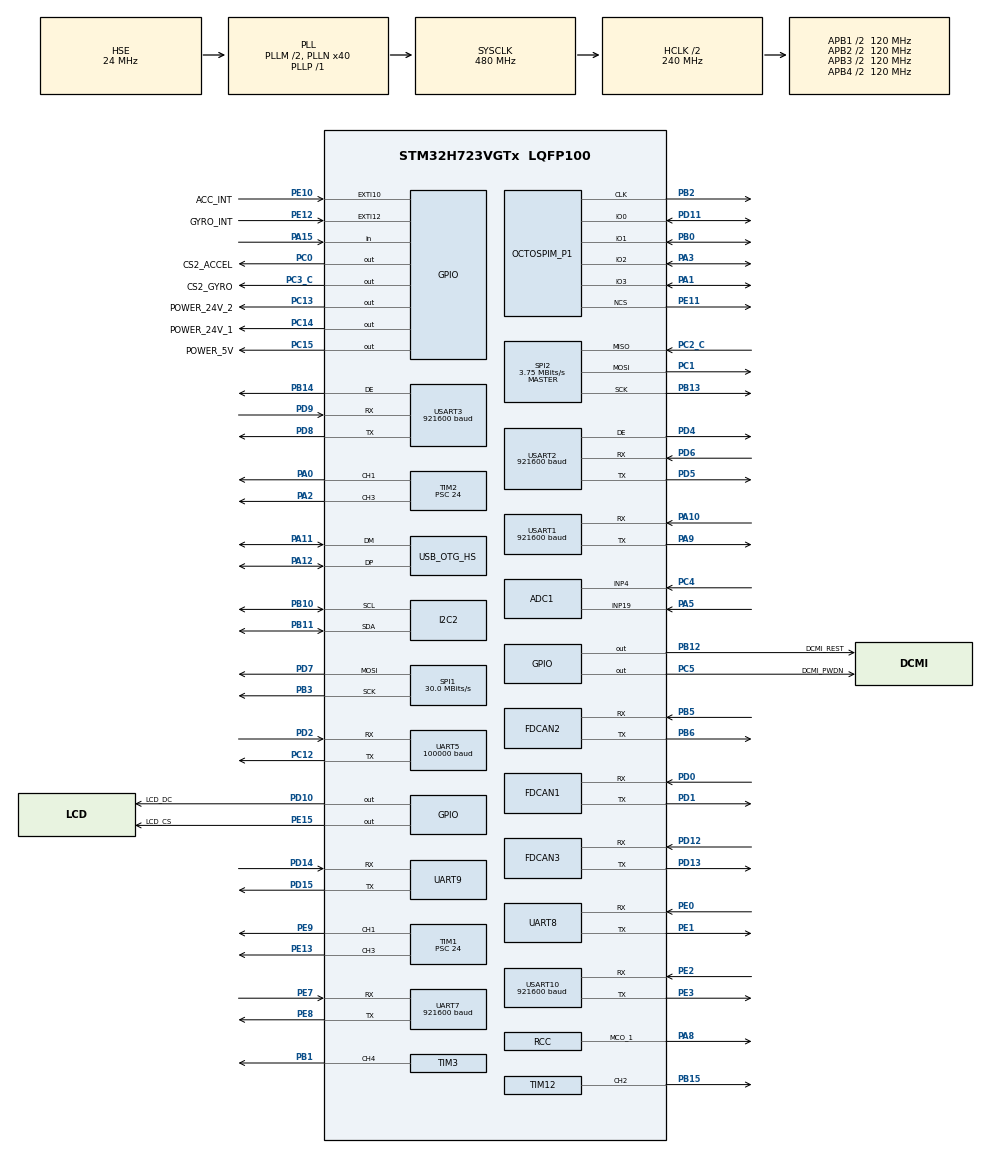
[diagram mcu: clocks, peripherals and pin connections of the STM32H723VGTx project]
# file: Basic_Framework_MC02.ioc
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ADC1.Channel-0\#ChannelRegularConversion=ADC_CHANNEL_4
ADC1.Channel-1\#ChannelRegularConversion=ADC_CHANNEL_19
ADC1.ClockPrescaler=ADC_CLOCK_ASYNC_DIV64
ADC1.ContinuousConvMode=ENABLE
ADC1.ConversionDataManagement=ADC_CONVERSIONDATA_DMA_CIRCULAR
ADC1.NbrOfConversion=2
ADC1.NbrOfConversionFlag=1
ADC1.OffsetNumber-0\#ChannelRegularConversion=ADC_OFFSET_NONE
ADC1.OffsetNumber-1\#ChannelRegularConversion=ADC_OFFSET_NONE
ADC1.OffsetSignedSaturation-0\#ChannelRegularConversion=DISABLE
ADC1.OffsetSignedSaturation-1\#ChannelRegularConversion=DISABLE
ADC1.Rank-0\#ChannelRegularConversion=1
ADC1.Rank-1\#ChannelRegularConversion=2
ADC1.SamplingTime-0\#ChannelRegularConversion=ADC_SAMPLETIME_32CYCLES_5
ADC1.SamplingTime-1\#ChannelRegularConversion=ADC_SAMPLETIME_32CYCLES_5
ADC1.master=1
CORTEX_M7.BaseAddress-Cortex_Memory_Protection_Unit_Region0_Settings=0x24000000
CORTEX_M7.CPU_DCache=Enabled
CORTEX_M7.CPU_ICache=Enabled
CORTEX_M7.Enable-Cortex_Memory_Protection_Unit_Region0_Settings=MPU_REGION_ENABLE
CORTEX_M7.IsBufferable-Cortex_Memory_Protection_Unit_Region0_Settings=MPU_ACCESS_BUFFERABLE
CORTEX_M7.IsCacheable-Cortex_Memory_Protection_Unit_Region0_Settings=MPU_ACCESS_CACHEABLE
CORTEX_M7.MPU_Control=__NULL
CORTEX_M7.Size-Cortex_Memory_Protection_Unit_Region0_Settings=MPU_REGION_SIZE_512B
CORTEX_M7.TypeExtField-Cortex_Memory_Protection_Unit_Region0_Settings=MPU_TEX_LEVEL1
Dma.ADC1.0.Direction=DMA_PERIPH_TO_MEMORY
Dma.ADC1.0.EventEnable=DISABLE
Dma.ADC1.0.FIFOMode=DMA_FIFOMODE_DISABLE
Dma.ADC1.0.Instance=DMA1_Stream0
Dma.ADC1.0.MemDataAlignment=DMA_MDATAALIGN_HALFWORD
Dma.ADC1.0.MemInc=DMA_MINC_ENABLE
Dma.ADC1.0.Mode=DMA_CIRCULAR
Dma.ADC1.0.PeriphDataAlignment=DMA_PDATAALIGN_HALFWORD
Dma.ADC1.0.PeriphInc=DMA_PINC_DISABLE
Dma.ADC1.0.Polarity=HAL_DMAMUX_REQ_GEN_RISING
Dma.ADC1.0.Priority=DMA_PRIORITY_LOW
Dma.ADC1.0.RequestNumber=1
Dma.ADC1.0.SignalID=NONE
Dma.ADC1.0.SyncEnable=DISABLE
Dma.ADC1.0.SyncPolarity=HAL_DMAMUX_SYNC_NO_EVENT
Dma.ADC1.0.SyncRequestNumber=1
Dma.ADC1.0.SyncSignalID=NONE
Dma.I2C2_RX.2.Direction=DMA_PERIPH_TO_MEMORY
Dma.I2C2_RX.2.EventEnable=DISABLE
Dma.I2C2_RX.2.FIFOMode=DMA_FIFOMODE_DISABLE
Dma.I2C2_RX.2.Instance=DMA1_Stream2
Dma.I2C2_RX.2.MemDataAlignment=DMA_MDATAALIGN_BYTE
Dma.I2C2_RX.2.MemInc=DMA_MINC_ENABLE
Dma.I2C2_RX.2.Mode=DMA_NORMAL
Dma.I2C2_RX.2.PeriphDataAlignment=DMA_PDATAALIGN_BYTE
Dma.I2C2_RX.2.PeriphInc=DMA_PINC_DISABLE
Dma.I2C2_RX.2.Polarity=HAL_DMAMUX_REQ_GEN_RISING
Dma.I2C2_RX.2.Priority=DMA_PRIORITY_LOW
Dma.I2C2_RX.2.RequestNumber=1
Dma.I2C2_RX.2.SignalID=NONE
Dma.I2C2_RX.2.SyncEnable=DISABLE
Dma.I2C2_RX.2.SyncPolarity=HAL_DMAMUX_SYNC_NO_EVENT
Dma.I2C2_RX.2.SyncRequestNumber=1
Dma.I2C2_RX.2.SyncSignalID=NONE
Dma.I2C2_TX.3.Direction=DMA_MEMORY_TO_PERIPH
Dma.I2C2_TX.3.EventEnable=DISABLE
Dma.I2C2_TX.3.FIFOMode=DMA_FIFOMODE_DISABLE
Dma.I2C2_TX.3.Instance=DMA1_Stream3
Dma.I2C2_TX.3.MemDataAlignment=DMA_MDATAALIGN_BYTE
Dma.I2C2_TX.3.MemInc=DMA_MINC_ENABLE
Dma.I2C2_TX.3.Mode=DMA_NORMAL
Dma.I2C2_TX.3.PeriphDataAlignment=DMA_PDATAALIGN_BYTE
Dma.I2C2_TX.3.PeriphInc=DMA_PINC_DISABLE
Dma.I2C2_TX.3.Polarity=HAL_DMAMUX_REQ_GEN_RISING
Dma.I2C2_TX.3.Priority=DMA_PRIORITY_LOW
Dma.I2C2_TX.3.RequestNumber=1
Dma.I2C2_TX.3.SignalID=NONE
Dma.I2C2_TX.3.SyncEnable=DISABLE
Dma.I2C2_TX.3.SyncPolarity=HAL_DMAMUX_SYNC_NO_EVENT
Dma.I2C2_TX.3.SyncRequestNumber=1
Dma.I2C2_TX.3.SyncSignalID=NONE
Dma.Request0=ADC1
Dma.Request1=UART5_RX
Dma.Request10=USART1_TX
Dma.Request11=USART1_RX
Dma.Request12=USART10_RX
Dma.Request13=USART10_TX
Dma.Request14=UART8_TX
Dma.Request15=UART8_RX
Dma.Request2=I2C2_RX
Dma.Request3=I2C2_TX
Dma.Request4=UART9_RX
Dma.Request5=UART9_TX
Dma.Request6=USART3_RX
Dma.Request7=USART3_TX
Dma.Request8=USART2_RX
Dma.Request9=USART2_TX
Dma.UART5_RX.1.Direction=DMA_PERIPH_TO_MEMORY
Dma.UART5_RX.1.EventEnable=DISABLE
Dma.UART5_RX.1.FIFOMode=DMA_FIFOMODE_DISABLE
Dma.UART5_RX.1.Instance=DMA1_Stream7
Dma.UART5_RX.1.MemDataAlignment=DMA_MDATAALIGN_BYTE
Dma.UART5_RX.1.MemInc=DMA_MINC_ENABLE
Dma.UART5_RX.1.Mode=DMA_NORMAL
Dma.UART5_RX.1.PeriphDataAlignment=DMA_PDATAALIGN_BYTE
Dma.UART5_RX.1.PeriphInc=DMA_PINC_DISABLE
Dma.UART5_RX.1.Polarity=HAL_DMAMUX_REQ_GEN_RISING
Dma.UART5_RX.1.Priority=DMA_PRIORITY_VERY_HIGH
Dma.UART5_RX.1.RequestNumber=1
Dma.UART5_RX.1.SignalID=NONE
Dma.UART5_RX.1.SyncEnable=DISABLE
Dma.UART5_RX.1.SyncPolarity=HAL_DMAMUX_SYNC_NO_EVENT
Dma.UART5_RX.1.SyncRequestNumber=1
Dma.UART5_RX.1.SyncSignalID=NONE
Dma.UART8_RX.15.Direction=DMA_PERIPH_TO_MEMORY
Dma.UART8_RX.15.EventEnable=DISABLE
Dma.UART8_RX.15.FIFOMode=DMA_FIFOMODE_DISABLE
Dma.UART8_RX.15.Instance=DMA2_Stream7
Dma.UART8_RX.15.MemDataAlignment=DMA_MDATAALIGN_BYTE
Dma.UART8_RX.15.MemInc=DMA_MINC_ENABLE
Dma.UART8_RX.15.Mode=DMA_NORMAL
Dma.UART8_RX.15.PeriphDataAlignment=DMA_PDATAALIGN_BYTE
Dma.UART8_RX.15.PeriphInc=DMA_PINC_DISABLE
Dma.UART8_RX.15.Polarity=HAL_DMAMUX_REQ_GEN_RISING
Dma.UART8_RX.15.Priority=DMA_PRIORITY_LOW
Dma.UART8_RX.15.RequestNumber=1
Dma.UART8_RX.15.SignalID=NONE
Dma.UART8_RX.15.SyncEnable=DISABLE
Dma.UART8_RX.15.SyncPolarity=HAL_DMAMUX_SYNC_NO_EVENT
Dma.UART8_RX.15.SyncRequestNumber=1
Dma.UART8_RX.15.SyncSignalID=NONE
Dma.UART8_TX.14.Direction=DMA_MEMORY_TO_PERIPH
Dma.UART8_TX.14.EventEnable=DISABLE
Dma.UART8_TX.14.FIFOMode=DMA_FIFOMODE_DISABLE
Dma.UART8_TX.14.Instance=DMA2_Stream6
Dma.UART8_TX.14.MemDataAlignment=DMA_MDATAALIGN_BYTE
Dma.UART8_TX.14.MemInc=DMA_MINC_ENABLE
Dma.UART8_TX.14.Mode=DMA_NORMAL
Dma.UART8_TX.14.PeriphDataAlignment=DMA_PDATAALIGN_BYTE
Dma.UART8_TX.14.PeriphInc=DMA_PINC_DISABLE
Dma.UART8_TX.14.Polarity=HAL_DMAMUX_REQ_GEN_RISING
Dma.UART8_TX.14.Priority=DMA_PRIORITY_LOW
Dma.UART8_TX.14.RequestNumber=1
Dma.UART8_TX.14.SignalID=NONE
Dma.UART8_TX.14.SyncEnable=DISABLE
Dma.UART8_TX.14.SyncPolarity=HAL_DMAMUX_SYNC_NO_EVENT
Dma.UART8_TX.14.SyncRequestNumber=1
Dma.UART8_TX.14.SyncSignalID=NONE
Dma.UART9_RX.4.Direction=DMA_PERIPH_TO_MEMORY
Dma.UART9_RX.4.EventEnable=DISABLE
Dma.UART9_RX.4.FIFOMode=DMA_FIFOMODE_DISABLE
Dma.UART9_RX.4.Instance=DMA1_Stream4
Dma.UART9_RX.4.MemDataAlignment=DMA_MDATAALIGN_BYTE
Dma.UART9_RX.4.MemInc=DMA_MINC_ENABLE
Dma.UART9_RX.4.Mode=DMA_NORMAL
Dma.UART9_RX.4.PeriphDataAlignment=DMA_PDATAALIGN_BYTE
Dma.UART9_RX.4.PeriphInc=DMA_PINC_DISABLE
Dma.UART9_RX.4.Polarity=HAL_DMAMUX_REQ_GEN_RISING
Dma.UART9_RX.4.Priority=DMA_PRIORITY_HIGH
Dma.UART9_RX.4.RequestNumber=1
Dma.UART9_RX.4.SignalID=NONE
Dma.UART9_RX.4.SyncEnable=DISABLE
Dma.UART9_RX.4.SyncPolarity=HAL_DMAMUX_SYNC_NO_EVENT
Dma.UART9_RX.4.SyncRequestNumber=1
Dma.UART9_RX.4.SyncSignalID=NONE
Dma.UART9_TX.5.Direction=DMA_MEMORY_TO_PERIPH
Dma.UART9_TX.5.EventEnable=DISABLE
Dma.UART9_TX.5.FIFOMode=DMA_FIFOMODE_DISABLE
Dma.UART9_TX.5.Instance=DMA1_Stream5
Dma.UART9_TX.5.MemDataAlignment=DMA_MDATAALIGN_BYTE
Dma.UART9_TX.5.MemInc=DMA_MINC_ENABLE
Dma.UART9_TX.5.Mode=DMA_NORMAL
Dma.UART9_TX.5.PeriphDataAlignment=DMA_PDATAALIGN_BYTE
Dma.UART9_TX.5.PeriphInc=DMA_PINC_DISABLE
Dma.UART9_TX.5.Polarity=HAL_DMAMUX_REQ_GEN_RISING
Dma.UART9_TX.5.Priority=DMA_PRIORITY_HIGH
Dma.UART9_TX.5.RequestNumber=1
Dma.UART9_TX.5.SignalID=NONE
Dma.UART9_TX.5.SyncEnable=DISABLE
Dma.UART9_TX.5.SyncPolarity=HAL_DMAMUX_SYNC_NO_EVENT
Dma.UART9_TX.5.SyncRequestNumber=1
Dma.UART9_TX.5.SyncSignalID=NONE
Dma.USART10_RX.12.Direction=DMA_PERIPH_TO_MEMORY
Dma.USART10_RX.12.EventEnable=DISABLE
Dma.USART10_RX.12.FIFOMode=DMA_FIFOMODE_DISABLE
Dma.USART10_RX.12.Instance=DMA2_Stream4
Dma.USART10_RX.12.MemDataAlignment=DMA_MDATAALIGN_BYTE
Dma.USART10_RX.12.MemInc=DMA_MINC_ENABLE
Dma.USART10_RX.12.Mode=DMA_NORMAL
Dma.USART10_RX.12.PeriphDataAlignment=DMA_PDATAALIGN_BYTE
Dma.USART10_RX.12.PeriphInc=DMA_PINC_DISABLE
Dma.USART10_RX.12.Polarity=HAL_DMAMUX_REQ_GEN_RISING
Dma.USART10_RX.12.Priority=DMA_PRIORITY_LOW
Dma.USART10_RX.12.RequestNumber=1
Dma.USART10_RX.12.SignalID=NONE
Dma.USART10_RX.12.SyncEnable=DISABLE
Dma.USART10_RX.12.SyncPolarity=HAL_DMAMUX_SYNC_NO_EVENT
Dma.USART10_RX.12.SyncRequestNumber=1
Dma.USART10_RX.12.SyncSignalID=NONE
Dma.USART10_TX.13.Direction=DMA_MEMORY_TO_PERIPH
Dma.USART10_TX.13.EventEnable=DISABLE
Dma.USART10_TX.13.FIFOMode=DMA_FIFOMODE_DISABLE
Dma.USART10_TX.13.Instance=DMA2_Stream5
Dma.USART10_TX.13.MemDataAlignment=DMA_MDATAALIGN_BYTE
Dma.USART10_TX.13.MemInc=DMA_MINC_ENABLE
Dma.USART10_TX.13.Mode=DMA_NORMAL
Dma.USART10_TX.13.PeriphDataAlignment=DMA_PDATAALIGN_BYTE
Dma.USART10_TX.13.PeriphInc=DMA_PINC_DISABLE
Dma.USART10_TX.13.Polarity=HAL_DMAMUX_REQ_GEN_RISING
Dma.USART10_TX.13.Priority=DMA_PRIORITY_LOW
Dma.USART10_TX.13.RequestNumber=1
Dma.USART10_TX.13.SignalID=NONE
Dma.USART10_TX.13.SyncEnable=DISABLE
Dma.USART10_TX.13.SyncPolarity=HAL_DMAMUX_SYNC_NO_EVENT
Dma.USART10_TX.13.SyncRequestNumber=1
Dma.USART10_TX.13.SyncSignalID=NONE
Dma.USART1_RX.11.Direction=DMA_PERIPH_TO_MEMORY
Dma.USART1_RX.11.EventEnable=DISABLE
Dma.USART1_RX.11.FIFOMode=DMA_FIFOMODE_DISABLE
Dma.USART1_RX.11.Instance=DMA2_Stream3
Dma.USART1_RX.11.MemDataAlignment=DMA_MDATAALIGN_BYTE
Dma.USART1_RX.11.MemInc=DMA_MINC_ENABLE
Dma.USART1_RX.11.Mode=DMA_NORMAL
Dma.USART1_RX.11.PeriphDataAlignment=DMA_PDATAALIGN_BYTE
Dma.USART1_RX.11.PeriphInc=DMA_PINC_DISABLE
Dma.USART1_RX.11.Polarity=HAL_DMAMUX_REQ_GEN_RISING
Dma.USART1_RX.11.Priority=DMA_PRIORITY_LOW
Dma.USART1_RX.11.RequestNumber=1
Dma.USART1_RX.11.SignalID=NONE
Dma.USART1_RX.11.SyncEnable=DISABLE
Dma.USART1_RX.11.SyncPolarity=HAL_DMAMUX_SYNC_NO_EVENT
Dma.USART1_RX.11.SyncRequestNumber=1
Dma.USART1_RX.11.SyncSignalID=NONE
Dma.USART1_TX.10.Direction=DMA_MEMORY_TO_PERIPH
Dma.USART1_TX.10.EventEnable=DISABLE
Dma.USART1_TX.10.FIFOMode=DMA_FIFOMODE_DISABLE
Dma.USART1_TX.10.Instance=DMA2_Stream2
Dma.USART1_TX.10.MemDataAlignment=DMA_MDATAALIGN_BYTE
Dma.USART1_TX.10.MemInc=DMA_MINC_ENABLE
Dma.USART1_TX.10.Mode=DMA_NORMAL
Dma.USART1_TX.10.PeriphDataAlignment=DMA_PDATAALIGN_BYTE
Dma.USART1_TX.10.PeriphInc=DMA_PINC_DISABLE
Dma.USART1_TX.10.Polarity=HAL_DMAMUX_REQ_GEN_RISING
Dma.USART1_TX.10.Priority=DMA_PRIORITY_LOW
Dma.USART1_TX.10.RequestNumber=1
Dma.USART1_TX.10.SignalID=NONE
Dma.USART1_TX.10.SyncEnable=DISABLE
Dma.USART1_TX.10.SyncPolarity=HAL_DMAMUX_SYNC_NO_EVENT
Dma.USART1_TX.10.SyncRequestNumber=1
Dma.USART1_TX.10.SyncSignalID=NONE
Dma.USART2_RX.8.Direction=DMA_PERIPH_TO_MEMORY
Dma.USART2_RX.8.EventEnable=DISABLE
Dma.USART2_RX.8.FIFOMode=DMA_FIFOMODE_DISABLE
Dma.USART2_RX.8.Instance=DMA2_Stream0
Dma.USART2_RX.8.MemDataAlignment=DMA_MDATAALIGN_BYTE
Dma.USART2_RX.8.MemInc=DMA_MINC_ENABLE
Dma.USART2_RX.8.Mode=DMA_NORMAL
Dma.USART2_RX.8.PeriphDataAlignment=DMA_PDATAALIGN_BYTE
Dma.USART2_RX.8.PeriphInc=DMA_PINC_DISABLE
Dma.USART2_RX.8.Polarity=HAL_DMAMUX_REQ_GEN_RISING
Dma.USART2_RX.8.Priority=DMA_PRIORITY_LOW
Dma.USART2_RX.8.RequestNumber=1
Dma.USART2_RX.8.SignalID=NONE
Dma.USART2_RX.8.SyncEnable=DISABLE
Dma.USART2_RX.8.SyncPolarity=HAL_DMAMUX_SYNC_NO_EVENT
Dma.USART2_RX.8.SyncRequestNumber=1
Dma.USART2_RX.8.SyncSignalID=NONE
Dma.USART2_TX.9.Direction=DMA_MEMORY_TO_PERIPH
Dma.USART2_TX.9.EventEnable=DISABLE
Dma.USART2_TX.9.FIFOMode=DMA_FIFOMODE_DISABLE
Dma.USART2_TX.9.Instance=DMA2_Stream1
Dma.USART2_TX.9.MemDataAlignment=DMA_MDATAALIGN_BYTE
Dma.USART2_TX.9.MemInc=DMA_MINC_ENABLE
Dma.USART2_TX.9.Mode=DMA_NORMAL
Dma.USART2_TX.9.PeriphDataAlignment=DMA_PDATAALIGN_BYTE
Dma.USART2_TX.9.PeriphInc=DMA_PINC_DISABLE
Dma.USART2_TX.9.Polarity=HAL_DMAMUX_REQ_GEN_RISING
Dma.USART2_TX.9.Priority=DMA_PRIORITY_LOW
Dma.USART2_TX.9.RequestNumber=1
Dma.USART2_TX.9.SignalID=NONE
Dma.USART2_TX.9.SyncEnable=DISABLE
Dma.USART2_TX.9.SyncPolarity=HAL_DMAMUX_SYNC_NO_EVENT
Dma.USART2_TX.9.SyncRequestNumber=1
Dma.USART2_TX.9.SyncSignalID=NONE
Dma.USART3_RX.6.Direction=DMA_PERIPH_TO_MEMORY
Dma.USART3_RX.6.EventEnable=DISABLE
Dma.USART3_RX.6.FIFOMode=DMA_FIFOMODE_DISABLE
Dma.USART3_RX.6.Instance=DMA1_Stream6
Dma.USART3_RX.6.MemDataAlignment=DMA_MDATAALIGN_BYTE
Dma.USART3_RX.6.MemInc=DMA_MINC_ENABLE
Dma.USART3_RX.6.Mode=DMA_NORMAL
Dma.USART3_RX.6.PeriphDataAlignment=DMA_PDATAALIGN_BYTE
Dma.USART3_RX.6.PeriphInc=DMA_PINC_DISABLE
Dma.USART3_RX.6.Polarity=HAL_DMAMUX_REQ_GEN_RISING
Dma.USART3_RX.6.Priority=DMA_PRIORITY_LOW
Dma.USART3_RX.6.RequestNumber=1
Dma.USART3_RX.6.SignalID=NONE
Dma.USART3_RX.6.SyncEnable=DISABLE
Dma.USART3_RX.6.SyncPolarity=HAL_DMAMUX_SYNC_NO_EVENT
Dma.USART3_RX.6.SyncRequestNumber=1
Dma.USART3_RX.6.SyncSignalID=NONE
Dma.USART3_TX.7.Direction=DMA_MEMORY_TO_PERIPH
Dma.USART3_TX.7.EventEnable=DISABLE
Dma.USART3_TX.7.FIFOMode=DMA_FIFOMODE_DISABLE
Dma.USART3_TX.7.Instance=DMA1_Stream1
Dma.USART3_TX.7.MemDataAlignment=DMA_MDATAALIGN_BYTE
Dma.USART3_TX.7.MemInc=DMA_MINC_ENABLE
Dma.USART3_TX.7.Mode=DMA_NORMAL
Dma.USART3_TX.7.PeriphDataAlignment=DMA_PDATAALIGN_BYTE
Dma.USART3_TX.7.PeriphInc=DMA_PINC_DISABLE
Dma.USART3_TX.7.Polarity=HAL_DMAMUX_REQ_GEN_RISING
Dma.USART3_TX.7.Priority=DMA_PRIORITY_LOW
Dma.USART3_TX.7.RequestNumber=1
Dma.USART3_TX.7.SignalID=NONE
Dma.USART3_TX.7.SyncEnable=DISABLE
Dma.USART3_TX.7.SyncPolarity=HAL_DMAMUX_SYNC_NO_EVENT
Dma.USART3_TX.7.SyncRequestNumber=1
Dma.USART3_TX.7.SyncSignalID=NONE
FDCAN1.CalculateBaudRateNominal=1000000
FDCAN1.CalculateTimeBitNominal=1000
FDCAN1.CalculateTimeQuantumNominal=25.0
FDCAN1.DataPrescaler=3
FDCAN1.DataSyncJumpWidth=10
FDCAN1.DataTimeSeg1=29
FDCAN1.DataTimeSeg2=10
FDCAN1.NominalPrescaler=3
FDCAN1.NominalTimeSeg1=29
FDCAN1.NominalTimeSeg2=10
FDCAN1.ProtocolException=ENABLE
FDCAN1.RxFifo0ElmtsNbr=4
FDCAN1.RxFifo1ElmtsNbr=4
FDCAN1.StdFiltersNbr=14
FDCAN1.TxFifoQueueElmtsNbr=4
FDCAN2.CalculateBaudRateNominal=1000000
FDCAN2.CalculateTimeBitNominal=1000
FDCAN2.CalculateTimeQuantumNominal=25.0
FDCAN2.DataPrescaler=3
FDCAN2.DataSyncJumpWidth=10
FDCAN2.DataTimeSeg1=29
FDCAN2.DataTimeSeg2=10
FDCAN2.MessageRAMOffset=0x406
FDCAN2.NominalPrescaler=3
FDCAN2.NominalTimeSeg1=29
FDCAN2.NominalTimeSeg2=10
FDCAN2.RxFifo0ElmtsNbr=4
FDCAN2.RxFifo1ElmtsNbr=4
FDCAN2.StdFiltersNbr=14
FDCAN2.TxFifoQueueElmtsNbr=4
FDCAN3.CalculateBaudRateNominal=1000000
FDCAN3.CalculateTimeBitNominal=1000
FDCAN3.CalculateTimeQuantumNominal=25.0
FDCAN3.DataPrescaler=3
FDCAN3.DataSyncJumpWidth=10
FDCAN3.DataTimeSeg1=29
FDCAN3.DataTimeSeg2=10
FDCAN3.MessageRAMOffset=0x812
FDCAN3.NominalPrescaler=3
FDCAN3.NominalTimeSeg1=29
FDCAN3.NominalTimeSeg2=10
FDCAN3.RxFifo0ElmtsNbr=4
FDCAN3.RxFifo1ElmtsNbr=4
FDCAN3.StdFiltersNbr=14
FDCAN3.TxFifoQueueElmtsNbr=4
FREERTOS.INCLUDE_eTaskGetState=0
FREERTOS.INCLUDE_uxTaskGetStackHighWaterMark=0
FREERTOS.INCLUDE_vTaskDelayUntil=1
FREERTOS.INCLUDE_xQueueGetMutexHolder=1
FREERTOS.INCLUDE_xTaskGetCurrentTaskHandle=0
FREERTOS.INCLUDE_xTimerPendFunctionCall=0
FREERTOS.Tasks01=defaultTask,0,128,StartDefaultTask,Default,NULL,Dynamic,NULL,NULL
FREERTOS.configENABLE_FPU=1
FREERTOS.configGENERATE_RUN_TIME_STATS=1
FREERTOS.configTOTAL_HEAP_SIZE=25600
FREERTOS.configUSE_COUNTING_SEMAPHORES=1
FREERTOS.configUSE_RECURSIVE_MUTEXES=0
FREERTOS.configUSE_TIMERS=1
FREERTOS.configUSE_TRACE_FACILITY=1
I2C2.Timing=0x307075B1
Mcu.Family=STM32H7
Mcu.Name=STM32H723VGTx
Mcu.Package=LQFP100
NVIC.DMA1_Stream0_IRQn=true\:5\:0\:false\:false\:true\:false\:false\:true\:true
NVIC.DMA1_Stream1_IRQn=true\:5\:0\:false\:false\:true\:true\:false\:true\:true
NVIC.DMA1_Stream2_IRQn=true\:5\:0\:false\:false\:true\:true\:false\:true\:true
NVIC.DMA1_Stream3_IRQn=true\:5\:0\:false\:false\:true\:true\:false\:true\:true
NVIC.DMA1_Stream4_IRQn=true\:5\:0\:false\:false\:true\:true\:false\:true\:true
NVIC.DMA1_Stream5_IRQn=true\:5\:0\:false\:false\:true\:true\:false\:true\:true
NVIC.DMA1_Stream6_IRQn=true\:5\:0\:false\:false\:true\:true\:false\:true\:true
NVIC.DMA1_Stream7_IRQn=true\:5\:0\:false\:false\:true\:true\:false\:true\:true
NVIC.DMA2_Stream0_IRQn=true\:5\:0\:false\:false\:true\:true\:false\:true\:true
NVIC.DMA2_Stream1_IRQn=true\:5\:0\:false\:false\:true\:true\:false\:true\:true
NVIC.DMA2_Stream2_IRQn=true\:5\:0\:false\:false\:true\:true\:false\:true\:true
NVIC.DMA2_Stream3_IRQn=true\:5\:0\:false\:false\:true\:true\:false\:true\:true
NVIC.DMA2_Stream4_IRQn=true\:5\:0\:false\:false\:true\:true\:false\:true\:true
NVIC.DMA2_Stream5_IRQn=true\:5\:0\:false\:false\:true\:true\:false\:true\:true
NVIC.DMA2_Stream6_IRQn=true\:5\:0\:false\:false\:true\:true\:false\:true\:true
NVIC.DMA2_Stream7_IRQn=true\:5\:0\:false\:false\:true\:true\:false\:true\:true
NVIC.FDCAN1_IT0_IRQn=true\:5\:0\:false\:false\:true\:true\:true\:true\:true
NVIC.FDCAN1_IT1_IRQn=true\:5\:0\:false\:false\:true\:true\:true\:true\:true
NVIC.FDCAN2_IT0_IRQn=true\:5\:0\:false\:false\:true\:true\:true\:true\:true
NVIC.FDCAN2_IT1_IRQn=true\:5\:0\:false\:false\:true\:true\:true\:true\:true
NVIC.FDCAN3_IT0_IRQn=true\:5\:0\:false\:false\:true\:true\:true\:true\:true
NVIC.FDCAN3_IT1_IRQn=true\:5\:0\:false\:false\:true\:true\:true\:true\:true
NVIC.I2C2_EV_IRQn=true\:5\:0\:false\:false\:true\:true\:true\:true\:true
NVIC.OTG_HS_IRQn=true\:5\:0\:false\:false\:true\:true\:false\:true\:true
NVIC.PriorityGroup=NVIC_PRIORITYGROUP_4
NVIC.TIM23_IRQn=true\:15\:0\:false\:false\:true\:false\:false\:true\:true
NVIC.TimeBase=TIM23_IRQn
NVIC.TimeBaseIP=TIM23
NVIC.UART5_IRQn=true\:5\:0\:false\:false\:true\:true\:true\:true\:true
NVIC.UART7_IRQn=true\:5\:0\:true\:false\:true\:false\:true\:true\:true
NVIC.USART10_IRQn=true\:5\:0\:true\:false\:true\:false\:true\:true\:true
NVIC.USART1_IRQn=true\:5\:0\:true\:false\:true\:false\:true\:true\:true
NVIC.USART2_IRQn=true\:5\:0\:true\:false\:true\:false\:true\:true\:true
NVIC.USART3_IRQn=true\:5\:0\:true\:false\:true\:false\:true\:true\:true
OCTOSPI2.ClockMode=HAL_OSPI_CLOCK_MODE_3
OCTOSPI2.ClockPrescaler=3
OCTOSPI2.DeviceSize=23
OCTOSPI2.DeviceType=SPI_DEVICE_FLASH
OCTOSPI2.FifoThreshold=8
OCTOSPI2.SampleShifting=HAL_OSPI_SAMPLE_SHIFTING_HALFCYCLE
PA0.Signal=S_TIM2_CH1_ETR
PA1.Mode=OCTOSPI2_IOL_Port1L
PA1.Signal=OCTOSPIM_P1_IO3
PA10.Mode=Asynchronous
PA10.Signal=USART1_RX
PA11.Mode=Device_Only_FS
PA11.Signal=USB_OTG_HS_DM
PA12.Mode=Device_Only_FS
PA12.Signal=USB_OTG_HS_DP
PA13(JTMS/SWDIO).Mode=Serial_Wire
PA13(JTMS/SWDIO).Signal=DEBUG_JTMS-SWDIO
PA14(JTCK/SWCLK).Mode=Serial_Wire
PA14(JTCK/SWCLK).Signal=DEBUG_JTCK-SWCLK
PA15(JTDI).Signal=GPIO_Input
PA2.Signal=S_TIM2_CH3
PA3.Mode=OCTOSPI2_IOL_Port1L
PA3.Signal=OCTOSPIM_P1_IO2
PA5.Signal=ADCx_INP19
PA8.Mode=Clock-out-1
PA8.Signal=RCC_MCO_1
PA9.Mode=Asynchronous
PA9.Signal=USART1_TX
PB0.Mode=OCTOSPI2_IOL_Port1L
PB0.Signal=OCTOSPIM_P1_IO1
PB1.Signal=S_TIM3_CH4
PB10.Mode=I2C
PB10.Signal=I2C2_SCL
PB11.Mode=I2C
PB11.Signal=I2C2_SDA
PB12.GPIO_Label=DCMI_REST
PB12.GPIO_PuPd=GPIO_PULLUP
PB12.GPIO_Speed=GPIO_SPEED_FREQ_VERY_HIGH
PB12.PinState=GPIO_PIN_SET
PB12.Signal=GPIO_Output
PB13.GPIO_Speed=GPIO_SPEED_FREQ_VERY_HIGH
PB13.Mode=Full_Duplex_Master
PB13.Signal=SPI2_SCK
PB14.Mode=Hardware Flow Control (RS485)
PB14.Signal=USART3_DE
PB15.Signal=S_TIM12_CH2
PB2.Mode=O2_P1_CLK
PB2.Signal=OCTOSPIM_P1_CLK
PB3(JTDO/TRACESWO).GPIO_Speed=GPIO_SPEED_FREQ_VERY_HIGH
PB3(JTDO/TRACESWO).Mode=TX_Only_Simplex_Unidirect_Master
PB3(JTDO/TRACESWO).Signal=SPI1_SCK
PB5.Mode=FDCAN_Activate
PB5.Signal=FDCAN2_RX
PB6.Mode=FDCAN_Activate
PB6.Signal=FDCAN2_TX
PC0.GPIO_Label=CS2_ACCEL
PC0.GPIO_Speed=GPIO_SPEED_FREQ_VERY_HIGH
PC0.PinState=GPIO_PIN_SET
PC0.Signal=GPIO_Output
PC1.GPIO_Speed=GPIO_SPEED_FREQ_VERY_HIGH
PC1.Mode=Full_Duplex_Master
PC1.Signal=SPI2_MOSI
PC12.Mode=Asynchronous
PC12.Signal=UART5_TX
PC13.GPIO_Label=POWER_24V_2
PC13.PinState=GPIO_PIN_SET
PC13.Signal=GPIO_Output
PC14-OSC32_IN.GPIO_Label=POWER_24V_1
PC14-OSC32_IN.PinState=GPIO_PIN_SET
PC14-OSC32_IN.Signal=GPIO_Output
PC15-OSC32_OUT.GPIO_Label=POWER_5V
PC15-OSC32_OUT.PinState=GPIO_PIN_SET
PC15-OSC32_OUT.Signal=GPIO_Output
PC2_C.GPIO_Speed=GPIO_SPEED_FREQ_VERY_HIGH
PC2_C.Mode=Full_Duplex_Master
PC2_C.Signal=SPI2_MISO
PC3_C.GPIO_Label=CS2_GYRO
PC3_C.GPIO_Speed=GPIO_SPEED_FREQ_VERY_HIGH
PC3_C.PinState=GPIO_PIN_SET
PC3_C.Signal=GPIO_Output
PC4.Signal=ADCx_INP4
PC5.GPIO_Label=DCMI_PWDN
PC5.GPIO_PuPd=GPIO_NOPULL
PC5.GPIO_Speed=GPIO_SPEED_FREQ_VERY_HIGH
PC5.PinState=GPIO_PIN_SET
PC5.Signal=GPIO_Output
PD0.Mode=FDCAN_Activate
PD0.Signal=FDCAN1_RX
PD1.Mode=FDCAN_Activate
PD1.Signal=FDCAN1_TX
PD10.GPIO_Label=LCD_DC
PD10.Signal=GPIO_Output
PD11.Mode=OCTOSPI2_IOL_Port1L
PD11.Signal=OCTOSPIM_P1_IO0
PD12.Mode=FDCAN_Activate
PD12.Signal=FDCAN3_RX
PD13.Mode=FDCAN_Activate
PD13.Signal=FDCAN3_TX
PD14.Mode=Asynchronous
PD14.Signal=UART9_RX
PD15.Mode=Asynchronous
PD15.Signal=UART9_TX
PD2.Mode=Asynchronous
PD2.Signal=UART5_RX
PD4.Mode=Hardware Flow Control (RS485)
PD4.Signal=USART2_DE
PD5.Mode=Asynchronous
PD5.Signal=USART2_TX
PD6.Mode=Asynchronous
PD6.Signal=USART2_RX
PD7.GPIO_Speed=GPIO_SPEED_FREQ_VERY_HIGH
PD7.Mode=TX_Only_Simplex_Unidirect_Master
PD7.Signal=SPI1_MOSI
PD8.Mode=Asynchronous
PD8.Signal=USART3_TX
PD9.Mode=Asynchronous
PD9.Signal=USART3_RX
PE0.Mode=Asynchronous
PE0.Signal=UART8_RX
PE1.Mode=Asynchronous
PE1.Signal=UART8_TX
PE10.GPIO_Label=ACC_INT
PE10.Signal=GPXTI10
PE11.Mode=OCTOSPI2_Port1_NCS
PE11.Signal=OCTOSPIM_P1_NCS
PE12.GPIO_Label=GYRO_INT
PE12.Signal=GPXTI12
PE13.Signal=S_TIM1_CH3
PE15.GPIO_Label=LCD_CS
PE15.Signal=GPIO_Output
PE2.Mode=Asynchronous
PE2.Signal=USART10_RX
PE3.Mode=Asynchronous
PE3.Signal=USART10_TX
PE7.Mode=Asynchronous
PE7.Signal=UART7_RX
PE8.Mode=Asynchronous
PE8.Signal=UART7_TX
PE9.Signal=S_TIM1_CH1
PH0-OSC_IN.Mode=HSE-External-Oscillator
PH0-OSC_IN.Signal=RCC_OSC_IN
PH1-OSC_OUT.Mode=HSE-External-Oscillator
PH1-OSC_OUT.Signal=RCC_OSC_OUT
ProjectManager.HeapSize=0x2000
ProjectManager.StackSize=0x2000
ProjectManager.TargetToolchain=Makefile
RCC.ADCFreq_Value=96000000
RCC.APB1Freq_Value=120000000
RCC.APB2Freq_Value=120000000
RCC.APB3Freq_Value=120000000
RCC.APB4Freq_Value=120000000
RCC.CortexFreq_Value=480000000
RCC.D1PPRE=RCC_APB3_DIV2
RCC.D2PPRE1=RCC_APB1_DIV2
RCC.D2PPRE2=RCC_APB2_DIV2
RCC.D3PPRE=RCC_APB4_DIV2
RCC.DIVM1=2
RCC.DIVM2=2
RCC.DIVN1=40
RCC.DIVN2=16
RCC.DIVP1=1
RCC.DIVQ1=4
RCC.EnbaleCSS=false
RCC.HCLKFreq_Value=240000000
RCC.HPRE=RCC_HCLK_DIV2
RCC.HSE_VALUE=24000000
RCC.PLL2FRACN=0
RCC.PLL2_VCI_Range-AdvancedSettings=RCC_PLL2VCIRANGE_0
RCC.PLL2_VCO_SEL-AdvancedSettings=RCC_PLL2VCOWIDE
RCC.PLL3FRACN=0
RCC.PLL3_VCO_SEL-AdvancedSettings=RCC_PLL3VCOMEDIUM
RCC.PLLFRACN=0
RCC.PLLSourceVirtual=RCC_PLLSOURCE_HSE
RCC.SPI6CLockSelection=RCC_SPI6CLKSOURCE_HSE
RCC.SYSCLKFreq_VALUE=480000000
RCC.SYSCLKSource=RCC_SYSCLKSOURCE_PLLCLK
RCC.USBCLockSelection=RCC_USBCLKSOURCE_HSI48
RCC.USBFreq_Value=48000000
SH.ADCx_INP19.0=ADC1_INP19,IN19-Single-Ended
SH.ADCx_INP4.0=ADC1_INP4,IN4-Single-Ended
SH.S_TIM12_CH2.0=TIM12_CH2,PWM Generation2 CH2
SH.S_TIM1_CH1.0=TIM1_CH1,PWM Generation1 CH1
SH.S_TIM1_CH3.0=TIM1_CH3,PWM Generation3 CH3
SH.S_TIM2_CH1_ETR.0=TIM2_CH1,PWM Generation1 CH1
SH.S_TIM2_CH3.0=TIM2_CH3,PWM Generation3 CH3
SH.S_TIM3_CH4.0=TIM3_CH4,PWM Generation4 CH4
SPI1.BaudRatePrescaler=SPI_BAUDRATEPRESCALER_4
SPI1.CLKPolarity=SPI_POLARITY_HIGH
SPI1.CalculateBaudRate=30.0 MBits/s
SPI1.DataSize=SPI_DATASIZE_8BIT
SPI1.Direction=SPI_DIRECTION_2LINES_TXONLY
SPI1.Mode=SPI_MODE_MASTER
SPI1.VirtualType=VM_MASTER
SPI2.BaudRatePrescaler=SPI_BAUDRATEPRESCALER_32
SPI2.CLKPhase=SPI_PHASE_2EDGE
SPI2.CLKPolarity=SPI_POLARITY_HIGH
SPI2.CalculateBaudRate=3.75 MBits/s
SPI2.DataSize=SPI_DATASIZE_8BIT
SPI2.Direction=SPI_DIRECTION_2LINES
SPI2.Mode=SPI_MODE_MASTER
SPI2.VirtualType=VM_MASTER
STMicroelectronics.X-CUBE-AI.10.0.0.ActivationBufferSizeList=2836,4016
STMicroelectronics.X-CUBE-AI.10.0.0.ActivationBuffers=pool0;pool0
STMicroelectronics.X-CUBE-AI.10.0.0.ActivationNames=pool0
STMicroelectronics.X-CUBE-AI.10.0.0.ActivationSizes=AI_TJB_NETWORK_DATA_ACTIVATION_1_SIZE
STMicroelectronics.X-CUBE-AI.10.0.0.ApplicationCcDeviceJjApplication=ApplicationTemplate
STMicroelectronics.X-CUBE-AI.10.0.0.HeapSize=0x2000
STMicroelectronics.X-CUBE-AI.10.0.0.InternalRamActivationBufferMaxSize=AI_TJB_NETWORK_DATA_ACTIVATIONS_SIZE
STMicroelectronics.X-CUBE-AI.10.0.0.LatestDirectoryUsed-4cc61984e0c12ada2418d965aff94a358a015fac8dfb7825652312cf7083bbfa=D\:\\DefaultStore\\QQ\\mlp\\RMUC_H723_smallMLP_v8_20261009
STMicroelectronics.X-CUBE-AI.10.0.0.LatestDirectoryUsed-7b91c18f8827a57faaacea54d904586ba1b8943fc1927454851ed9d63d4f48af=D\:\\Combat\\2026_10_15-20_16__motion31_u1600_detailed
STMicroelectronics.X-CUBE-AI.10.0.0.LatestDirectoryUsed-9d1a8e818d019ef1d44029b28b8d9047bd9560f70f3c33793dcfc22742052fb8=D\:\\Combat\\tjb_network
STMicroelectronics.X-CUBE-AI.10.0.0.MaximumNumberOfInputLayer=1
STMicroelectronics.X-CUBE-AI.10.0.0.MaximumNumberOfOutputLayer=1
STMicroelectronics.X-CUBE-AI.10.0.0.MaximumSizeOfInputLayer=1
STMicroelectronics.X-CUBE-AI.10.0.0.MaximumSizeOfOutputLayer=1
STMicroelectronics.X-CUBE-AI.10.0.0.ModelActualCompression-4cc61984e0c12ada2418d965aff94a358a015fac8dfb7825652312cf7083bbfa=0.0
STMicroelectronics.X-CUBE-AI.10.0.0.ModelActualCompression-7b91c18f8827a57faaacea54d904586ba1b8943fc1927454851ed9d63d4f48af=0.0
STMicroelectronics.X-CUBE-AI.10.0.0.ModelActualCompression-9d1a8e818d019ef1d44029b28b8d9047bd9560f70f3c33793dcfc22742052fb8=0.0
STMicroelectronics.X-CUBE-AI.10.0.0.ModelCompression-4cc61984e0c12ada2418d965aff94a358a015fac8dfb7825652312cf7083bbfa=None
STMicroelectronics.X-CUBE-AI.10.0.0.ModelCompression-7b91c18f8827a57faaacea54d904586ba1b8943fc1927454851ed9d63d4f48af=None
STMicroelectronics.X-CUBE-AI.10.0.0.ModelCompression-9d1a8e818d019ef1d44029b28b8d9047bd9560f70f3c33793dcfc22742052fb8=None
STMicroelectronics.X-CUBE-AI.10.0.0.ModelFlashOccupation-4cc61984e0c12ada2418d965aff94a358a015fac8dfb7825652312cf7083bbfa=84756
STMicroelectronics.X-CUBE-AI.10.0.0.ModelFlashOccupation-7b91c18f8827a57faaacea54d904586ba1b8943fc1927454851ed9d63d4f48af=61640
STMicroelectronics.X-CUBE-AI.10.0.0.ModelFlashOccupation-9d1a8e818d019ef1d44029b28b8d9047bd9560f70f3c33793dcfc22742052fb8=202060
STMicroelectronics.X-CUBE-AI.10.0.0.ModelHashList=4cc61984e0c12ada2418d965aff94a358a015fac8dfb7825652312cf7083bbfa;9d1a8e818d019ef1d44029b28b8d9047bd9560f70f3c33793dcfc22742052fb8
STMicroelectronics.X-CUBE-AI.10.0.0.ModelKind-4cc61984e0c12ada2418d965aff94a358a015fac8dfb7825652312cf7083bbfa=ONNX
STMicroelectronics.X-CUBE-AI.10.0.0.ModelKind-7b91c18f8827a57faaacea54d904586ba1b8943fc1927454851ed9d63d4f48af=ONNX
STMicroelectronics.X-CUBE-AI.10.0.0.ModelKind-9d1a8e818d019ef1d44029b28b8d9047bd9560f70f3c33793dcfc22742052fb8=ONNX
STMicroelectronics.X-CUBE-AI.10.0.0.ModelMacc-4cc61984e0c12ada2418d965aff94a358a015fac8dfb7825652312cf7083bbfa=20870
STMicroelectronics.X-CUBE-AI.10.0.0.ModelMacc-7b91c18f8827a57faaacea54d904586ba1b8943fc1927454851ed9d63d4f48af=17154
STMicroelectronics.X-CUBE-AI.10.0.0.ModelMacc-9d1a8e818d019ef1d44029b28b8d9047bd9560f70f3c33793dcfc22742052fb8=54722
STMicroelectronics.X-CUBE-AI.10.0.0.ModelName-4cc61984e0c12ada2418d965aff94a358a015fac8dfb7825652312cf7083bbfa=network
STMicroelectronics.X-CUBE-AI.10.0.0.ModelName-7b91c18f8827a57faaacea54d904586ba1b8943fc1927454851ed9d63d4f48af=tjb_recover
STMicroelectronics.X-CUBE-AI.10.0.0.ModelName-9d1a8e818d019ef1d44029b28b8d9047bd9560f70f3c33793dcfc22742052fb8=tjb_network
STMicroelectronics.X-CUBE-AI.10.0.0.ModelNameList=network,tjb_network
STMicroelectronics.X-CUBE-AI.10.0.0.ModelRamOccupation-4cc61984e0c12ada2418d965aff94a358a015fac8dfb7825652312cf7083bbfa=2836
STMicroelectronics.X-CUBE-AI.10.0.0.ModelRamOccupation-7b91c18f8827a57faaacea54d904586ba1b8943fc1927454851ed9d63d4f48af=3248
STMicroelectronics.X-CUBE-AI.10.0.0.ModelRamOccupation-9d1a8e818d019ef1d44029b28b8d9047bd9560f70f3c33793dcfc22742052fb8=4016
STMicroelectronics.X-CUBE-AI.10.0.0.ModelStructureFile-4cc61984e0c12ada2418d965aff94a358a015fac8dfb7825652312cf7083bbfa=D\:\\DefaultStore\\QQ\\mlp\\RMUC_H723_smallMLP_v8_20261009\\policy.onnx
STMicroelectronics.X-CUBE-AI.10.0.0.ModelStructureFile-7b91c18f8827a57faaacea54d904586ba1b8943fc1927454851ed9d63d4f48af=D\:\\Combat\\2026_10_15-20_16__motion31_u1600_detailed\\actor(1).onnx
STMicroelectronics.X-CUBE-AI.10.0.0.ModelStructureFile-9d1a8e818d019ef1d44029b28b8d9047bd9560f70f3c33793dcfc22742052fb8=D\:\\Combat\\tjb_network\\actor1112.onnx
STMicroelectronics.X-CUBE-AI.10.0.0.ModelType-4cc61984e0c12ada2418d965aff94a358a015fac8dfb7825652312cf7083bbfa=STM32Cube.AI MCU runtime
STMicroelectronics.X-CUBE-AI.10.0.0.ModelType-7b91c18f8827a57faaacea54d904586ba1b8943fc1927454851ed9d63d4f48af=STM32Cube.AI MCU runtime
STMicroelectronics.X-CUBE-AI.10.0.0.ModelType-9d1a8e818d019ef1d44029b28b8d9047bd9560f70f3c33793dcfc22742052fb8=STM32Cube.AI MCU runtime
STMicroelectronics.X-CUBE-AI.10.0.0.ReadyForCodeGeneration=true
STMicroelectronics.X-CUBE-AI.10.0.0.StackSize=0x2000
STMicroelectronics.X-CUBE-AI.10.0.0.WorkingBufferStartAddrList=0xFFFFFFFF,0xFFFFFFFF
STMicroelectronics.X-CUBE-AI.10.0.0.XAaCUBEAaAICcArtificialOoIntelligenceJjCore=true
STMicroelectronics.X-CUBE-AI.10.0.0.copyWeightToRam=false
STMicroelectronics.X-CUBE-AI.10.0.0.copyWeightToRam-4cc61984e0c12ada2418d965aff94a358a015fac8dfb7825652312cf7083bbfa=false
STMicroelectronics.X-CUBE-AI.10.0.0.copyWeightToRam-7b91c18f8827a57faaacea54d904586ba1b8943fc1927454851ed9d63d4f48af=false
STMicroelectronics.X-CUBE-AI.10.0.0.copyWeightToRam-9d1a8e818d019ef1d44029b28b8d9047bd9560f70f3c33793dcfc22742052fb8=false
STMicroelectronics.X-CUBE-AI.10.0.0.customLayerConfigEnabled=false
STMicroelectronics.X-CUBE-AI.10.0.0.customLayerConfigEnabled-4cc61984e0c12ada2418d965aff94a358a015fac8dfb7825652312cf7083bbfa=false
STMicroelectronics.X-CUBE-AI.10.0.0.customLayerConfigEnabled-7b91c18f8827a57faaacea54d904586ba1b8943fc1927454851ed9d63d4f48af=false
STMicroelectronics.X-CUBE-AI.10.0.0.customLayerConfigEnabled-9d1a8e818d019ef1d44029b28b8d9047bd9560f70f3c33793dcfc22742052fb8=false
STMicroelectronics.X-CUBE-AI.10.0.0.noOnnxIoTranspose=false
STMicroelectronics.X-CUBE-AI.10.0.0.noOnnxIoTranspose-4cc61984e0c12ada2418d965aff94a358a015fac8dfb7825652312cf7083bbfa=false
STMicroelectronics.X-CUBE-AI.10.0.0.noOnnxIoTranspose-7b91c18f8827a57faaacea54d904586ba1b8943fc1927454851ed9d63d4f48af=false
STMicroelectronics.X-CUBE-AI.10.0.0.noOnnxIoTranspose-9d1a8e818d019ef1d44029b28b8d9047bd9560f70f3c33793dcfc22742052fb8=false
STMicroelectronics.X-CUBE-AI.10.0.0.optimization=time
STMicroelectronics.X-CUBE-AI.10.0.0.optimization-4cc61984e0c12ada2418d965aff94a358a015fac8dfb7825652312cf7083bbfa=time
STMicroelectronics.X-CUBE-AI.10.0.0.optimization-9d1a8e818d019ef1d44029b28b8d9047bd9560f70f3c33793dcfc22742052fb8=time
STMicroelectronics.X-CUBE-AI.10.0.0.useInputAllocation=true
STMicroelectronics.X-CUBE-AI.10.0.0.useInputAllocation-4cc61984e0c12ada2418d965aff94a358a015fac8dfb7825652312cf7083bbfa=true
STMicroelectronics.X-CUBE-AI.10.0.0.useInputAllocation-7b91c18f8827a57faaacea54d904586ba1b8943fc1927454851ed9d63d4f48af=true
STMicroelectronics.X-CUBE-AI.10.0.0.useInputAllocation-9d1a8e818d019ef1d44029b28b8d9047bd9560f70f3c33793dcfc22742052fb8=true
STMicroelectronics.X-CUBE-AI.10.0.0.useOutputAllocation=true
STMicroelectronics.X-CUBE-AI.10.0.0.useOutputAllocation-4cc61984e0c12ada2418d965aff94a358a015fac8dfb7825652312cf7083bbfa=true
STMicroelectronics.X-CUBE-AI.10.0.0.useOutputAllocation-7b91c18f8827a57faaacea54d904586ba1b8943fc1927454851ed9d63d4f48af=true
STMicroelectronics.X-CUBE-AI.10.0.0.useOutputAllocation-9d1a8e818d019ef1d44029b28b8d9047bd9560f70f3c33793dcfc22742052fb8=true
STMicroelectronics.X-CUBE-ALGOBUILD.1.4.0.LibraryCcDSPOoLibraryJjDSPOoLibrary=true
TIM1.Channel-PWM\ Generation1\ CH1=TIM_CHANNEL_1
TIM1.Channel-PWM\ Generation3\ CH3=TIM_CHANNEL_3
TIM1.Period=10000
TIM1.Prescaler=24
TIM1.Pulse-PWM\ Generation1\ CH1=5000
TIM1.Pulse-PWM\ Generation3\ CH3=5000
TIM12.Channel-PWM\ Generation2\ CH2=TIM_CHANNEL_2
TIM12.Period=2000-1
TIM12.Prescaler=24-1
TIM2.Channel-PWM\ Generation1\ CH1=TIM_CHANNEL_1
TIM2.Channel-PWM\ Generation3\ CH3=TIM_CHANNEL_3
TIM2.Period=10000
TIM2.Prescaler=24
TIM2.Pulse-PWM\ Generation1\ CH1=5000
TIM2.Pulse-PWM\ Generation3\ CH3=5000
TIM3.AutoReloadPreload=TIM_AUTORELOAD_PRELOAD_ENABLE
TIM3.Channel-PWM\ Generation4\ CH4=TIM_CHANNEL_4
TIM3.Period=10000-1
TIM3.Prescaler=24-1
UART5.BaudRate=100000
UART5.Mode=MODE_RX
UART5.Parity=PARITY_EVEN
UART5.WordLength=WORDLENGTH_9B
UART7.BaudRate=921600
USART1.BaudRate=921600
USART1.VirtualMode-Asynchronous=VM_ASYNC
USART10.BaudRate=921600
USART10.VirtualMode=VM_ASYNC
USART2.BaudRate=921600
USART2.VirtualMode-Asynchronous=VM_ASYNC
USART2.VirtualMode-Hardware\ Flow\ Control\ (RS485)=VM_ASYNC
USART3.BaudRate=921600
USART3.VirtualMode-Asynchronous=VM_ASYNC
USART3.VirtualMode-Hardware\ Flow\ Control\ (RS485)=VM_ASYNC
USB_DEVICE.CLASS_NAME_HS=CDC
USB_DEVICE.VirtualMode=Cdc
USB_DEVICE.VirtualModeHS=Cdc_HS
USB_OTG_HS.VirtualMode-Device_Only_FS=Device_Only_FS
VP_FREERTOS_VS_CMSIS_V1.Mode=CMSIS_V1
VP_OCTOSPI2_VS_quad.Mode=quad_mode
VP_STMicroelectronics.X-CUBE-AI_VS_ArtificialOoIntelligenceJjXAaCUBEAaAI_10.0.0.Mode=ArtificialOoIntelligenceJjXAaCUBEAaAI
VP_STMicroelectronics.X-CUBE-AI_VS_DeviceJjApplication_10.0.0.Mode=DeviceJjApplication
VP_STMicroelectronics.X-CUBE-ALGOBUILD_VS_DSPOoLibraryJjLibrary_1.4.0_1.4.0.Mode=DSPOoLibraryJjLibrary
VP_SYS_VS_tim23.Mode=TIM23
VP_USB_DEVICE_VS_USB_DEVICE_CDC_HS.Mode=CDC_HS
board=custom

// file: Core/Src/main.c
/* USER CODE BEGIN Header */
/**
  ******************************************************************************
  * @file           : main.c
  * @brief          : Main program body
  ******************************************************************************
  * @attention
  *
  * Copyright (c) 2024 STMicroelectronics.
  * All rights reserved.
  *
  * This software is licensed under terms that can be found in the LICENSE file
  * in the root directory of this software component.
  * If no LICENSE file comes with this software, it is provided AS-IS.
  *
  ******************************************************************************
  */
/* USER CODE END Header */
#include "main.h"
#include "cmsis_os.h"
#include "adc.h"
#include "dma.h"
#include "fdcan.h"
#include "i2c.h"
#include "octospi.h"
#include "spi.h"
#include "tim.h"
#include "usart.h"
#include "usb_device.h"
#include "gpio.h"
#include "app_x-cube-ai.h"

/* USER CODE BEGIN Includes */
#include "robot.h"
#include "bsp_log.h"
#include "hip_ident_config.h"
/* USER CODE END Includes */

/* USER CODE BEGIN PV */
#define W25Qxx_NumByteToTest   	32*1024					// �������ݵĳ��ȣ�32K

int32_t OSPI_Status ; 		 //����־λ

uint8_t  W25Qxx_WriteBuffer[W25Qxx_NumByteToTest];		//	д��������
uint8_t  W25Qxx_ReadBuffer[W25Qxx_NumByteToTest];		//	����������
/* USER CODE END PV */

void SystemClock_Config(void);
void MX_FREERTOS_Init(void);

int main(void)
{

  /* Enable the CPU Cache */

  /* Enable I-Cache---------------------------------------------------------*/
  SCB_EnableICache();

  /* Enable D-Cache---------------------------------------------------------*/
  SCB_EnableDCache();

  /* MCU Configuration--------------------------------------------------------*/

  /* Reset of all peripherals, Initializes the Flash interface and the Systick. */
  HAL_Init();

  /* Configure the system clock */
  SystemClock_Config();

  /* Initialize all configured peripherals */
  MX_GPIO_Init();
  MX_DMA_Init();
  MX_ADC1_Init();
  MX_TIM12_Init();
  MX_SPI1_Init();
  MX_SPI2_Init();
  MX_TIM3_Init();
  MX_USART1_UART_Init();
  MX_USART2_UART_Init();
  MX_USART3_UART_Init();
  MX_UART7_Init();
  MX_USART10_UART_Init();
  MX_FDCAN1_Init();
  MX_FDCAN2_Init();
  MX_FDCAN3_Init();
  MX_TIM1_Init();
  MX_TIM2_Init();
  MX_OCTOSPI2_Init();
  MX_UART5_Init();
  MX_UART8_Init();
  MX_UART9_Init();
  MX_I2C2_Init();
#if !HIP_IDENT_ENABLED
  MX_X_CUBE_AI_Init();
#endif
  /* USER CODE BEGIN 2 */
  RobotInit(); // Ψһ�ĳ�ʼ������
  LOGINFO("[main] SystemInit() and RobotInit() done");
  /* USER CODE END 2 */

  /* Call init function for freertos objects (in cmsis_os2.c) */
  MX_FREERTOS_Init();

  /* Start scheduler */
  osKernelStart();

  /* We should never get here as control is now taken by the scheduler */

  /* Infinite loop */
  /* USER CODE BEGIN WHILE */
  while (1)
  {
//	  vofa_start();

    /* USER CODE END WHILE */

  }
}

void SystemClock_Config(void)
{
  RCC_OscInitTypeDef RCC_OscInitStruct = {0};
  RCC_ClkInitTypeDef RCC_ClkInitStruct = {0};

  /** Supply configuration update enable
  */
  HAL_PWREx_ConfigSupply(PWR_LDO_SUPPLY);

  /** Configure the main internal regulator output voltage
  */
  __HAL_PWR_VOLTAGESCALING_CONFIG(PWR_REGULATOR_VOLTAGE_SCALE0);

  while(!__HAL_PWR_GET_FLAG(PWR_FLAG_VOSRDY)) {}

  /** Initializes the RCC Oscillators according to the specified parameters
  * in the RCC_OscInitTypeDef structure.
  */
  RCC_OscInitStruct.OscillatorType = RCC_OSCILLATORTYPE_HSI48|RCC_OSCILLATORTYPE_HSI
                              |RCC_OSCILLATORTYPE_HSE;
  RCC_OscInitStruct.HSEState = RCC_HSE_ON;
  RCC_OscInitStruct.HSIState = RCC_HSI_DIV1;
  RCC_OscInitStruct.HSICalibrationValue = 64;
  RCC_OscInitStruct.HSI48State = RCC_HSI48_ON;
  RCC_OscInitStruct.PLL.PLLState = RCC_PLL_ON;
  RCC_OscInitStruct.PLL.PLLSource = RCC_PLLSOURCE_HSE;
  RCC_OscInitStruct.PLL.PLLM = 2;
  RCC_OscInitStruct.PLL.PLLN = 40;
  RCC_OscInitStruct.PLL.PLLP = 1;
  RCC_OscInitStruct.PLL.PLLQ = 4;
  RCC_OscInitStruct.PLL.PLLR = 2;
  RCC_OscInitStruct.PLL.PLLRGE = RCC_PLL1VCIRANGE_3;
  RCC_OscInitStruct.PLL.PLLVCOSEL = RCC_PLL1VCOWIDE;
  RCC_OscInitStruct.PLL.PLLFRACN = 0;
  if (HAL_RCC_OscConfig(&RCC_OscInitStruct) != HAL_OK)
  {
    Error_Handler();
  }

  /** Initializes the CPU, AHB and APB buses clocks
  */
  RCC_ClkInitStruct.ClockType = RCC_CLOCKTYPE_HCLK|RCC_CLOCKTYPE_SYSCLK
                              |RCC_CLOCKTYPE_PCLK1|RCC_CLOCKTYPE_PCLK2
                              |RCC_CLOCKTYPE_D3PCLK1|RCC_CLOCKTYPE_D1PCLK1;
  RCC_ClkInitStruct.SYSCLKSource = RCC_SYSCLKSOURCE_PLLCLK;
  RCC_ClkInitStruct.SYSCLKDivider = RCC_SYSCLK_DIV1;
  RCC_ClkInitStruct.AHBCLKDivider = RCC_HCLK_DIV2;
  RCC_ClkInitStruct.APB3CLKDivider = RCC_APB3_DIV2;
  RCC_ClkInitStruct.APB1CLKDivider = RCC_APB1_DIV2;
  RCC_ClkInitStruct.APB2CLKDivider = RCC_APB2_DIV2;
  RCC_ClkInitStruct.APB4CLKDivider = RCC_APB4_DIV2;

  if (HAL_RCC_ClockConfig(&RCC_ClkInitStruct, FLASH_LATENCY_3) != HAL_OK)
  {
    Error_Handler();
  }
  HAL_RCC_MCOConfig(RCC_MCO1, RCC_MCO1SOURCE_HSI, RCC_MCODIV_1);
}

void HAL_TIM_PeriodElapsedCallback(TIM_HandleTypeDef *htim)
{
  if (htim->Instance == TIM23)
  {
    HAL_IncTick();
  }
}

void Error_Handler(void)
{
  __disable_irq();
  while (1)
  {
  }
}

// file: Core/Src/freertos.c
/* USER CODE BEGIN Header */
/**
  ******************************************************************************
  * File Name          : freertos.c
  * Description        : Code for freertos applications
  ******************************************************************************
  * @attention
  *
  * Copyright (c) 2024 STMicroelectronics.
  * All rights reserved.
  *
  * This software is licensed under terms that can be found in the LICENSE file
  * in the root directory of this software component.
  * If no LICENSE file comes with this software, it is provided AS-IS.
  *
  ******************************************************************************
  */
/* USER CODE END Header */

#include "FreeRTOS.h"
#include "task.h"
#include "main.h"
#include "cmsis_os.h"

/* USER CODE BEGIN Includes */
#include "chassis/rl_shadow.h"
#include "robot_def.h"

/* USER CODE END Includes */

/* USER CODE BEGIN Variables */
#if defined(ONE_BOARD) || defined(CHASSIS_BOARD)
static osThreadId rlMotion31TaskHandle;
#endif

/* USER CODE END Variables */
osThreadId defaultTaskHandle;

/* USER CODE BEGIN FunctionPrototypes */
#if defined(ONE_BOARD) || defined(CHASSIS_BOARD)
static void StartRLMotion31ShadowTask(void const *argument);
#endif

/* USER CODE END FunctionPrototypes */

void StartDefaultTask(void const * argument);

extern void MX_USB_DEVICE_Init(void);
void MX_FREERTOS_Init(void); /* (MISRA C 2004 rule 8.1) */

/* GetIdleTaskMemory prototype (linked to static allocation support) */
void vApplicationGetIdleTaskMemory( StaticTask_t **ppxIdleTaskTCBBuffer, StackType_t **ppxIdleTaskStackBuffer, uint32_t *pulIdleTaskStackSize );

/* GetTimerTaskMemory prototype (linked to static allocation support) */
void vApplicationGetTimerTaskMemory( StaticTask_t **ppxTimerTaskTCBBuffer, StackType_t **ppxTimerTaskStackBuffer, uint32_t *pulTimerTaskStackSize );

/* Hook prototypes */
void configureTimerForRunTimeStats(void);
unsigned long getRunTimeCounterValue(void);

/* USER CODE BEGIN 1 */
/* Functions needed when configGENERATE_RUN_TIME_STATS is on */
__weak void configureTimerForRunTimeStats(void)
{

}

__weak unsigned long getRunTimeCounterValue(void)
{
return 0;
}
/* USER CODE END 1 */

/* USER CODE BEGIN GET_IDLE_TASK_MEMORY */
static StaticTask_t xIdleTaskTCBBuffer;
static StackType_t xIdleStack[configMINIMAL_STACK_SIZE];

void vApplicationGetIdleTaskMemory( StaticTask_t **ppxIdleTaskTCBBuffer, StackType_t **ppxIdleTaskStackBuffer, uint32_t *pulIdleTaskStackSize )
{
  *ppxIdleTaskTCBBuffer = &xIdleTaskTCBBuffer;
  *ppxIdleTaskStackBuffer = &xIdleStack[0];
  *pulIdleTaskStackSize = configMINIMAL_STACK_SIZE;
  /* place for user code */
}
/* USER CODE END GET_IDLE_TASK_MEMORY */

/* USER CODE BEGIN GET_TIMER_TASK_MEMORY */
static StaticTask_t xTimerTaskTCBBuffer;
static StackType_t xTimerStack[configTIMER_TASK_STACK_DEPTH];

void vApplicationGetTimerTaskMemory( StaticTask_t **ppxTimerTaskTCBBuffer, StackType_t **ppxTimerTaskStackBuffer, uint32_t *pulTimerTaskStackSize )
{
  *ppxTimerTaskTCBBuffer = &xTimerTaskTCBBuffer;
  *ppxTimerTaskStackBuffer = &xTimerStack[0];
  *pulTimerTaskStackSize = configTIMER_TASK_STACK_DEPTH;
  /* place for user code */
}
/* USER CODE END GET_TIMER_TASK_MEMORY */

void MX_FREERTOS_Init(void) {

  /* Create the thread(s) */
  /* definition and creation of defaultTask */
  osThreadDef(defaultTask, StartDefaultTask, osPriorityNormal, 0, 128);
  defaultTaskHandle = osThreadCreate(osThread(defaultTask), NULL);

  /* USER CODE BEGIN RTOS_THREADS */
#if defined(ONE_BOARD) || defined(CHASSIS_BOARD)
  osThreadDef(rlMotion31Task, StartRLMotion31ShadowTask, osPriorityBelowNormal, 0, 2048);
  rlMotion31TaskHandle = osThreadCreate(osThread(rlMotion31Task), NULL);
  if (rlMotion31TaskHandle == NULL) Error_Handler();
#endif
  /* USER CODE END RTOS_THREADS */

}

void StartDefaultTask(void const * argument)
{
  /* init code for USB_DEVICE */
  MX_USB_DEVICE_Init();
  for(;;)
  {
    osDelay(1);
  }
}

/* USER CODE BEGIN Application */
#if defined(ONE_BOARD) || defined(CHASSIS_BOARD)
static void StartRLMotion31ShadowTask(void const *argument)
{
  RLShadowTask(argument);
  for (;;) osDelay(1000);
}
#endif

/* USER CODE END Application */
